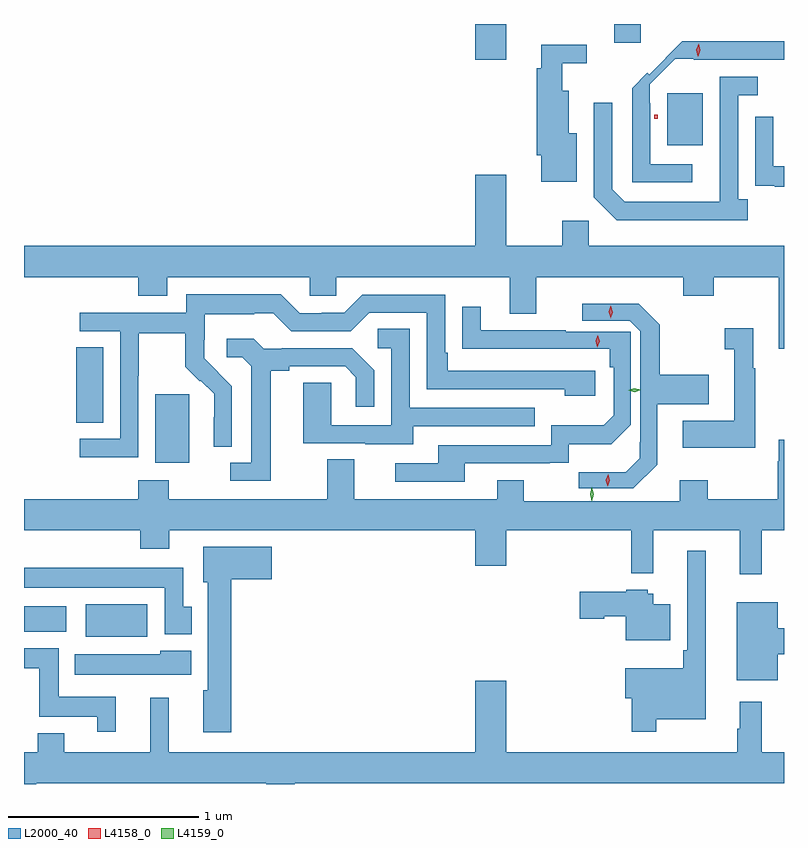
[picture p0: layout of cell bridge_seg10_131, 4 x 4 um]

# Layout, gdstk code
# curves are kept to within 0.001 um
import gdstk
lib = gdstk.Library(unit=1e-6, precision=1e-09)
def R(c, l, rs):  # rectangles x0, y0, x1, y1
    for r in rs: c.add(gdstk.rectangle(r[:2], r[2:], *l))
def P(c, l, *ps):  # polygons
    for p in ps: c.add(gdstk.Polygon(p, *l))
L2000_40 = (2000, 40)
L4158_0 = (4158, 0)
L4159_0 = (4159, 0)

bridge_seg10_131 = lib.new_cell('bridge_seg10_131')
R(bridge_seg10_131, L2000_40, [(354.767,1298.423,355.09,1298.593), (354.442,1298.45,354.664,1298.584), (355.133,1299.338,355.312,1299.699), (354.716,1299.55,354.859,1299.947), (357.827,1301.009,358.015,1301.284), (356.816,1301.46,356.98,1301.648), (357.548,1301.549,357.688,1301.648)])
P(bridge_seg10_131, L2000_40, [(357.958,1300.911),(357.738,1300.911),(357.738,1301.231),(357.735,1301.231),(357.735,1301.331),(357.87,1301.466),(357.967,1301.466),(357.967,1301.46),(358.442,1301.46),(358.442,1301.556),(357.907,1301.556),(357.733,1301.382),(357.723,1301.391),(357.642,1301.309),(357.642,1300.815),(357.958,1300.815)],
  [(357.352,1301.074),(357.31,1301.074),(357.31,1301.296),(357.274,1301.296),(357.274,1301.441),(357.403,1301.441),(357.403,1301.538),(357.164,1301.538),(357.164,1301.414),(357.14,1301.414),(357.14,1300.956),(357.164,1300.956),(357.164,1300.817),(357.352,1300.817)],
  [(358.252,1300.726),(358.2,1300.726),(358.2,1301.274),(358.303,1301.274),(358.303,1301.37),(358.104,1301.37),(358.103,1300.713),(357.603,1300.713),(357.537,1300.779),(357.537,1301.233),(357.441,1301.233),(357.441,1300.737),(357.562,1300.616),(358.252,1300.616)],
  [(358.442,1300.899),(358.386,1300.899),(358.386,1301.161),(358.29,1301.161),(358.29,1300.906),(358.291,1300.906),(358.291,1300.797),(358.393,1300.797),(358.393,1300.791),(358.442,1300.791)],
  [(358.442,1300.48),(357.414,1300.48),(357.414,1300.612),(357.275,1300.612),(357.275,1300.48),(356.98,1300.48),(356.98,1300.855),(356.816,1300.855),(356.816,1300.48),(354.442,1300.48),(354.442,1300.316),(355.043,1300.316),(355.043,1300.217),(355.195,1300.217),(355.195,1300.316),(355.947,1300.316),(355.947,1300.218),(356.085,1300.218),(356.085,1300.316),(356.999,1300.316),(356.999,1300.122),(357.139,1300.122),(357.139,1300.316),(357.911,1300.316),(357.911,1300.217),(358.071,1300.217),(358.071,1300.316),(358.415,1300.316),(358.415,1299.939),(358.442,1299.939)],
  [(355.044,1299.796),(355.047,1299.796),(355.047,1300.02),(355.291,1300.02),(355.291,1299.845),(355.368,1299.768),(355.371,1299.771),(355.442,1299.701),(355.442,1299.578),(355.44,1299.578),(355.44,1299.424),(355.536,1299.424),(355.536,1299.742),(355.39,1299.89),(355.39,1299.987),(355.392,1299.987),(355.392,1300.121),(355.655,1300.121),(355.655,1300.125),(355.755,1300.125),(355.848,1300.032),(356.163,1300.032),(356.259,1300.128),(356.562,1300.128),(356.562,1299.726),(357.287,1299.726),(357.287,1299.692),(357.448,1299.692),(357.448,1299.822),(356.671,1299.822),(356.671,1299.919),(356.658,1299.919),(356.658,1300.224),(356.223,1300.224),(356.127,1300.128),(356.009,1300.128),(356.009,1300.125),(355.893,1300.125),(355.793,1300.225),(355.296,1300.225),(355.296,1300.128),(354.735,1300.128),(354.735,1300.032),(354.948,1300.032),(354.948,1299.465),(354.735,1299.465),(354.735,1299.367),(355.044,1299.367)],
  [(357.775,1299.329),(357.775,1299.648),(358.047,1299.648),(358.047,1299.801),(357.788,1299.801),(357.788,1300.066),(357.678,1300.176),(357.38,1300.176),(357.38,1300.086),(357.63,1300.086),(357.685,1300.031),(357.685,1299.446),(357.683,1299.446),(357.683,1299.362),(357.608,1299.288),(357.362,1299.289),(357.362,1299.204),(357.649,1299.204)],
  [(356.761,1299.336),(357.209,1299.336),(357.209,1299.339),(357.309,1299.339),(357.309,1299.437),(357.533,1299.437),(357.635,1299.539),(357.635,1300.028),(357.292,1300.028),(357.292,1300.035),(356.845,1300.035),(356.845,1300.159),(356.749,1300.159),(356.749,1299.94),(356.851,1299.94),(356.851,1299.938),(357.526,1299.938),(357.526,1299.842),(357.546,1299.842),(357.546,1299.589),(357.492,1299.535),(357.216,1299.535),(357.216,1299.432),(356.621,1299.432),(356.621,1299.336),(356.397,1299.336),(356.397,1299.24),(356.761,1299.24)],
  [(358.291,1299.835),(358.279,1299.835),(358.279,1300.048),(358.131,1300.048),(358.131,1299.935),(358.181,1299.935),(358.181,1299.559),(357.909,1299.559),(357.909,1299.419),(358.291,1299.419)],
  [(356.491,1299.531),(357.131,1299.531),(357.131,1299.627),(356.472,1299.627),(356.472,1300.043),(356.304,1300.043),(356.304,1299.942),(356.376,1299.942),(356.376,1299.537),(356.058,1299.537),(356.058,1299.761),(355.913,1299.761),(355.913,1299.441),(356.237,1299.441),(356.237,1299.437),(356.491,1299.437)],
  [(355.741,1299.824),(355.837,1299.824),(355.837,1299.846),(356.132,1299.846),(356.189,1299.789),(356.189,1299.633),(356.286,1299.633),(356.286,1299.826),(356.17,1299.942),(355.798,1299.942),(355.798,1299.939),(355.704,1299.939),(355.652,1299.991),(355.509,1299.991),(355.509,1299.894),(355.59,1299.894),(355.637,1299.847),(355.637,1299.339),(355.527,1299.339),(355.527,1299.243),(355.741,1299.243)],
  [(358.325,1298.984),(358.442,1298.984),(358.442,1299.46),(358.415,1299.46),(358.415,1299.347),(358.408,1299.347),(358.408,1299.148),(358.041,1299.148),(358.041,1299.247),(357.893,1299.247),(357.893,1299.137),(357.073,1299.137),(357.073,1299.247),(356.933,1299.247),(356.933,1299.148),(356.179,1299.148),(356.179,1299.356),(356.039,1299.356),(356.039,1299.148),(355.203,1299.148),(355.203,1299.247),(355.043,1299.247),(355.043,1299.148),(354.442,1299.148),(354.442,1298.984),(355.055,1298.984),(355.055,1298.885),(355.207,1298.885),(355.207,1298.984),(356.816,1298.984),(356.816,1298.796),(356.98,1298.796),(356.98,1298.984),(357.637,1298.984),(357.637,1298.756),(357.755,1298.756),(357.755,1298.984),(358.208,1298.984),(358.208,1298.751),(358.325,1298.751)],
  [(355.532,1298.726),(355.747,1298.726),(355.747,1298.896),(355.385,1298.896),(355.385,1298.709),(355.409,1298.709),(355.409,1298.142),(355.385,1298.142),(355.385,1297.92),(355.532,1297.92)],
  [(357.769,1297.988),(358.03,1297.988),(358.03,1298.875),(357.933,1298.875),(357.933,1298.353),(357.913,1298.353),(357.913,1298.257),(357.606,1298.257),(357.606,1298.099),(357.64,1298.099),(357.64,1297.923),(357.769,1297.923)],
  [(355.324,1298.58),(355.279,1298.58),(355.279,1298.785),(354.442,1298.785),(354.442,1298.681),(355.182,1298.681),(355.182,1298.436),(355.324,1298.436)],
  [(357.844,1298.593),(357.754,1298.593),(357.754,1298.649),(357.726,1298.649),(357.726,1298.671),(357.612,1298.671),(357.612,1298.661),(357.366,1298.661),(357.366,1298.519),(357.495,1298.519),(357.495,1298.531),(357.608,1298.531),(357.608,1298.405),(357.844,1298.405)],
  [(358.408,1298.332),(358.442,1298.332),(358.442,1298.468),(358.408,1298.468),(358.408,1298.605),(358.193,1298.605),(358.193,1298.195),(358.408,1298.195)],
  [(354.926,1298.107),(354.625,1298.107),(354.625,1298.362),(354.442,1298.362),(354.442,1298.258),(354.521,1298.258),(354.521,1298.003),(354.827,1298.003),(354.827,1297.923),(354.926,1297.923)],
  [(355.321,1298.35),(355.158,1298.35),(355.158,1298.332),(354.71,1298.332),(354.71,1298.222),(355.321,1298.222)],
  [(354.506,1297.652),(355.716,1297.652),(355.716,1297.648),(355.868,1297.648),(355.868,1297.652),(358.442,1297.652),(358.442,1297.816),(358.325,1297.816),(358.325,1298.08),(358.208,1298.08),(358.208,1297.94),(358.197,1297.94),(358.197,1297.816),(356.98,1297.816),(356.98,1298.191),(356.816,1298.191),(356.816,1297.816),(355.205,1297.816),(355.205,1298.101),(355.106,1298.101),(355.106,1297.816),(354.655,1297.816),(354.655,1297.915),(354.515,1297.915),(354.515,1297.816),(354.442,1297.816),(354.442,1297.648),(354.506,1297.648)])
R(bridge_seg10_131, L4158_0, [(357.758,1301.15,357.778,1301.17)])
P(bridge_seg10_131, L4158_0, [(357.989,1301.477),(357.981,1301.512),(357.992,1301.545),(357.992,1301.545),(357.992,1301.545),(358.001,1301.511),(357.99,1301.477),(357.99,1301.477)],
  [(357.529,1300.1),(357.529,1300.101),(357.519,1300.133),(357.53,1300.165),(357.53,1300.165),(357.53,1300.165),(357.54,1300.132),(357.529,1300.101)],
  [(357.514,1299.215),(357.514,1299.216),(357.505,1299.247),(357.516,1299.277),(357.516,1299.277),(357.516,1299.277),(357.525,1299.246),(357.514,1299.216)],
  [(357.459,1299.948),(357.459,1299.948),(357.451,1299.98),(357.462,1300.01),(357.463,1300.011),(357.463,1300.01),(357.471,1299.979),(357.46,1299.948)])
P(bridge_seg10_131, L4159_0, [(357.656,1299.711),(357.623,1299.72),(357.623,1299.72),(357.623,1299.72),(357.655,1299.731),(357.688,1299.722),(357.688,1299.722),(357.688,1299.722)],
  [(357.431,1299.136),(357.43,1299.137),(357.421,1299.173),(357.431,1299.209),(357.431,1299.209),(357.431,1299.209),(357.441,1299.173),(357.431,1299.137)])

lib.write_gds('bridge_seg10_131.gds')
